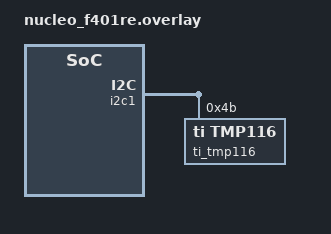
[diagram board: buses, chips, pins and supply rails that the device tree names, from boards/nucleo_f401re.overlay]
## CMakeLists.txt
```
# SPDX-License-Identifier: Apache-2.0

cmake_minimum_required(VERSION 3.20.0)
find_package(Zephyr REQUIRED HINTS $ENV{ZEPHYR_BASE})
project(tmp116)

FILE(GLOB app_sources src/*.c)
target_sources(app PRIVATE ${app_sources})
```

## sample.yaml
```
sample:
  name: TI TMP116 Sensor Sample
tests:
  sample.sensor.tmp116:
    harness: console
    platform_allow: nucleo_f401re
    integration_platforms:
      - nucleo_f401re
    tags: sensors
    depends_on: i2c
    harness_config:
      type: one_line
      regex:
        - "temp is (.*) oC"
      fixture: fixture_i2c_tmp116
```

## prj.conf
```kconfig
CONFIG_STDOUT_CONSOLE=y
CONFIG_I2C=y
CONFIG_SENSOR=y
CONFIG_SENSOR_INIT_PRIORITY=90
CONFIG_EEPROM=y
CONFIG_EEPROM_INIT_PRIORITY=91
CONFIG_EEPROM_TMP116=y
```

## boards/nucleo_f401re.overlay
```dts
/*
 * Copyright (c) 2019 Centaur Analytics, Inc
 *
 * SPDX-License-Identifier: Apache-2.0
 */

&i2c1 {

	ti_tmp116: ti_tmp116@4b {
		compatible = "ti,tmp116";
		reg = <0x4B>;
		#address-cells = <1>;
		#size-cells = <0>;

		eeprom: ti_tmp116_eeprom@0 {
			compatible = "ti,tmp116-eeprom";
			reg = <0x0>;
			read-only;
		};
	};

};
```

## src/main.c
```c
/*
 * Copyright (c) 2019 Centaur Analytics, Inc
 *
 * SPDX-License-Identifier: Apache-2.0
 */

#include <zephyr/kernel.h>
#include <zephyr/device.h>
#include <zephyr/drivers/sensor.h>
#include <zephyr/drivers/eeprom.h>
#include <zephyr/drivers/sensor/tmp116.h>
#include <zephyr/sys/printk.h>
#include <zephyr/sys/__assert.h>

#define TMP116_NODE DT_COMPAT_GET_ANY_STATUS_OKAY(ti_tmp116)
#define TMP116_EEPROM_NODE DT_CHILD(TMP116_NODE, ti_tmp116_eeprom_0)

static uint8_t eeprom_content[EEPROM_TMP116_SIZE];

int main(void)
{
	const struct device *const dev = DEVICE_DT_GET(TMP116_NODE);
	const struct device *const eeprom = DEVICE_DT_GET(TMP116_EEPROM_NODE);
	struct sensor_value temp_value;

	/* offset to be added to the temperature
	 * only supported by TMP117
	 */
	struct sensor_value offset_value;
	int ret;

	__ASSERT(device_is_ready(dev), "TMP116 device not ready");
	__ASSERT(device_is_ready(eeprom), "TMP116 eeprom device not ready");

	printk("Device %s - %p is ready\n", dev->name, dev);

	ret = eeprom_read(eeprom, 0, eeprom_content, sizeof(eeprom_content));
	if (ret == 0) {
		printk("eeprom content %02x%02x%02x%02x%02x%02x%02x%02x\n",
		       eeprom_content[0], eeprom_content[1],
		       eeprom_content[2], eeprom_content[3],
		       eeprom_content[4], eeprom_content[5],
		       eeprom_content[6], eeprom_content[7]);
	} else {
		printk("Failed to get eeprom content\n");
	}

	/*
	 * if an offset of 2.5 oC is to be added,
	 * set val1 = 2 and val2 = 500000.
	 * See struct sensor_value documentation for more details.
	 */
	offset_value.val1 = 0;
	offset_value.val2 = 0;
	ret = sensor_attr_set(dev, SENSOR_CHAN_AMBIENT_TEMP,
			      SENSOR_ATTR_OFFSET, &offset_value);
	if (ret) {
		printk("sensor_attr_set failed ret = %d\n", ret);
		printk("SENSOR_ATTR_OFFSET is only supported by TMP117\n");
	}
	while (1) {
		ret = sensor_sample_fetch(dev);
		if (ret) {
			printk("Failed to fetch measurements (%d)\n", ret);
			return 0;
		}

		ret = sensor_channel_get(dev, SENSOR_CHAN_AMBIENT_TEMP,
					 &temp_value);
		if (ret) {
			printk("Failed to get measurements (%d)\n", ret);
			return 0;
		}

		printk("temp is %d.%d oC\n", temp_value.val1, temp_value.val2);

		k_sleep(K_MSEC(1000));
	}
	return 0;
}
```
